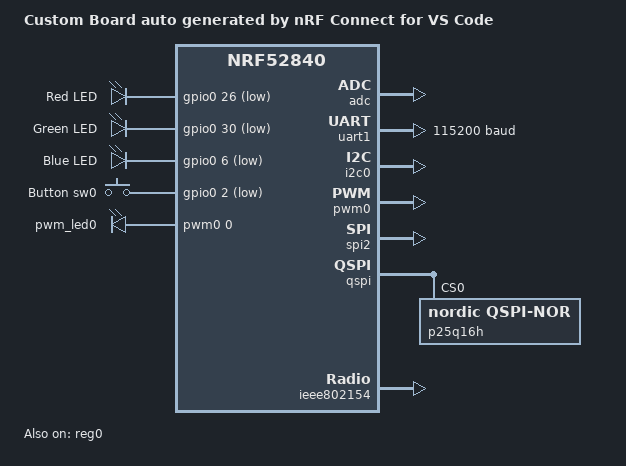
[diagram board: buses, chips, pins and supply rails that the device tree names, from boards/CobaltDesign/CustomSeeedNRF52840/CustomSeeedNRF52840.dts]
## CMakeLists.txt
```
cmake_minimum_required(VERSION 3.20.0)
find_package(Zephyr REQUIRED HINTS $ENV{ZEPHYR_BASE})

macro(app_set_runner_args)
  board_runner_args(dfu-util "--dfuse-modifiers=force:mass-erase")
  board_runner_args(pyocd "--erase")
  board_runner_args(nrfjprog "--erase")
endmacro()

# This find_package command locates the Zephyr package and sets up
find_package(Zephyr REQUIRED HINTS $ENV{ZEPHYR_BASE})
project(XiaoBleMesh)

# NORDIC SDK APP START
target_sources(app PRIVATE
	src/main.c
	src/lb_service_handler.c
	src/model_handler.c)
target_include_directories(app PRIVATE include)
```

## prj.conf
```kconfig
# Basic setting
CONFIG_NCS_SAMPLES_DEFAULTS=y

# Logging configuration
CONFIG_LOG=y
CONFIG_USE_SEGGER_RTT=y
CONFIG_LOG_BACKEND_RTT=y
CONFIG_CONSOLE=n
CONFIG_UART_CONSOLE=n
CONFIG_LOG_BACKEND_UART=n


# Set the default log level to INFO
CONFIG_LOG_DEFAULT_LEVEL=4
# Enable immediate mode
# CONFIG_LOG_MODE_IMMEDIATE=y
# Deferred logging helps improve LPN power consumption
# when friendship is established.
CONFIG_LOG_MODE_DEFERRED=y

CONFIG_MPU_LOG_LEVEL_ERR=y
CONFIG_KERNEL_LOG_LEVEL_ERR=y

CONFIG_HEAP_MEM_POOL_SIZE=1024

# General configuration
CONFIG_NCS_APPLICATION_BOOT_BANNER_STRING="Mesh and Peripheral Coex Testing"
CONFIG_SYSTEM_WORKQUEUE_STACK_SIZE=2048
CONFIG_FLASH=y
CONFIG_FLASH_MAP=y
CONFIG_NVS=y
CONFIG_SETTINGS=y
CONFIG_NVS_LOOKUP_CACHE=y
CONFIG_SETTINGS_NVS_NAME_CACHE=y
CONFIG_HWINFO=y
CONFIG_DK_LIBRARY=y
CONFIG_PM_SINGLE_IMAGE=y
CONFIG_PM_PARTITION_SIZE_SETTINGS_STORAGE=0x8000
CONFIG_SOC_FLASH_NRF_PARTIAL_ERASE=y

# Bluetooth configuration
CONFIG_BT=y
CONFIG_BT_DEVICE_NAME="Mesh_Peripheral_Coex"
CONFIG_BT_L2CAP_TX_BUF_COUNT=8
CONFIG_BT_OBSERVER=y
CONFIG_BT_PERIPHERAL=y
CONFIG_BT_SETTINGS=y

CONFIG_BT_EXT_ADV=y
# 5 sets are used by Bluetooth Mesh, 1 is needed for the sample advs.
CONFIG_BT_EXT_ADV_MAX_ADV_SET=6
CONFIG_BT_MAX_CONN=3
CONFIG_BT_ID_MAX=2

# Disable unused Bluetooth features
CONFIG_BT_CTLR_LE_ENC=n
CONFIG_BT_PHY_UPDATE=n
CONFIG_BT_CTLR_CHAN_SEL_2=n
CONFIG_BT_CTLR_MIN_USED_CHAN=n
CONFIG_BT_CTLR_PRIVACY=n

# Bluetooth Mesh configuration
CONFIG_BT_MESH=y
CONFIG_BT_MESH_RELAY=y
CONFIG_BT_MESH_FRIEND=y
CONFIG_BT_MESH_TX_SEG_MAX=10
CONFIG_BT_MESH_PB_GATT=y
CONFIG_BT_MESH_GATT_PROXY=y
CONFIG_BT_MESH_PROXY_USE_DEVICE_NAME=y
CONFIG_BT_MESH_DK_PROV=y

# *. Enable FOTA over Bluetooth LE
CONFIG_BOOTLOADER_MCUBOOT=y
CONFIG_NCS_SAMPLE_MCUMGR_BT_OTA_DFU=y

# UART configuration
CONFIG_SERIAL=y
CONFIG_UART_ASYNC_API=y

# BOARD CONFIGURATION
CONFIG_GPIO=y
# Bluetooth Mesh models
CONFIG_BT_MESH_ONOFF_SRV=y

# Enable the LBS service
CONFIG_BT_LBS=y
CONFIG_BT_LBS_POLL_BUTTON=y

# NVS setting
CONFIG_FLASH=y
CONFIG_FLASH_PAGE_LAYOUT=y
CONFIG_NVS=y    # Enable NVS
CONFIG_NVS_LOG_LEVEL_DBG=y
CONFIG_REBOOT=y
CONFIG_MPU_ALLOW_FLASH_WRITE=y


# Enable the LBS service
CONFIG_BT_LBS=y
CONFIG_BT_LBS_POLL_BUTTON=y

# Increase the HCI command buffers to 3 for additional Peripheral LE Service
CONFIG_BT_BUF_CMD_TX_COUNT=3

# *. Event
CONFIG_EVENTS=y

# *. Ring buffer
CONFIG_RING_BUFFER=y

# *. Power management
CONFIG_POWEROFF=y

# *. Access to UICR
CONFIG_SOC_FLASH_NRF_UICR=y
```

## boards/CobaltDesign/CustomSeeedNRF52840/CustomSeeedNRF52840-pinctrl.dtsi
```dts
&pinctrl {
	uart1_default: uart1_default {
		group1 {
			psels = <NRF_PSEL(UART_TX, 1, 11)>;
		};
		group2 {
			psels = <NRF_PSEL(UART_RX, 1, 12)>;
			bias-pull-up;
		};
	};

	uart1_sleep: uart1_sleep {
		group1 {
			psels = <NRF_PSEL(UART_TX, 1, 11)>,
				<NRF_PSEL(UART_RX, 1, 12)>;
			low-power-enable;
		};
	};

	i2c1_default: i2c1_default {
		group1 {
			psels = <NRF_PSEL(TWIM_SDA, 0, 7)>,
				<NRF_PSEL(TWIM_SCL, 0, 27)>;
		};
	};

	i2c1_sleep: i2c1_sleep {
		group1 {
			psels = <NRF_PSEL(TWIM_SDA, 0, 7)>,
				<NRF_PSEL(TWIM_SCL, 0, 27)>;
			low-power-enable;
		};
	};

	i2c0_default: i2c0_default {
		group1 {
			psels = <NRF_PSEL(TWIM_SDA, 0, 4)>,
				<NRF_PSEL(TWIM_SCL, 0, 5)>;
		};
	};

	i2c0_sleep: i2c0_sleep {
		group1 {
			psels = <NRF_PSEL(TWIM_SDA, 0, 4)>,
				<NRF_PSEL(TWIM_SCL, 0, 5)>;
			low-power-enable;
		};
	};

	pdm0_default: pdm0_default {
		group1 {
			psels = <NRF_PSEL(PDM_CLK, 1, 00)>,
				<NRF_PSEL(PDM_DIN, 0, 16)>;
		};
	};

	pdm0_sleep: pdm0_sleep {
		group1 {
			psels = <NRF_PSEL(PDM_CLK, 1, 00)>,
				<NRF_PSEL(PDM_DIN, 0, 16)>;
				low-power-enable;
		};
	};

	pwm0_default: pwm0_default {
		group1 {
			psels = <NRF_PSEL(PWM_OUT0, 0, 17)>;
			nordic,invert;
		};
	};

	pwm0_sleep: pwm0_sleep {
		group1 {
			psels = <NRF_PSEL(PWM_OUT0, 0, 17)>;
			low-power-enable;
		};
	};

	spi2_default: spi2_default {
		group1 {
			psels = <NRF_PSEL(SPIM_SCK, 1, 13)>,
				<NRF_PSEL(SPIM_MOSI, 1, 15)>,
				<NRF_PSEL(SPIM_MISO, 1, 14)>;
		};
	};

	spi2_sleep: spi2_sleep {
		group1 {
			psels = <NRF_PSEL(SPIM_SCK, 1, 13)>,
				<NRF_PSEL(SPIM_MOSI, 1, 15)>,
				<NRF_PSEL(SPIM_MISO, 1, 14)>;
			low-power-enable;
		};
	};

	spi3_default: spi3_default {
		group1 {
			psels = <NRF_PSEL(SPIM_SCK, 0, 21)>,
				<NRF_PSEL(SPIM_MOSI, 0, 20)>,
				<NRF_PSEL(SPIM_MISO, 0, 24)>;
		};
	};

	spi3_sleep: spi3_sleep {
		group1 {
			psels = <NRF_PSEL(SPIM_SCK, 0, 21)>,
				<NRF_PSEL(SPIM_MOSI, 0, 20)>,
				<NRF_PSEL(SPIM_MISO, 0, 24)>;
			low-power-enable;
		};
	};

	qspi_default: qspi_default {
		group1 {
			psels = <NRF_PSEL(QSPI_SCK, 0, 21)>,
				<NRF_PSEL(QSPI_IO0, 0, 20)>,
				<NRF_PSEL(QSPI_IO1, 0, 24)>,
				<NRF_PSEL(QSPI_IO2, 0, 22)>,
				<NRF_PSEL(QSPI_IO3, 0, 23)>,
				<NRF_PSEL(QSPI_CSN, 0, 25)>;
		};
	};

	qspi_sleep: qspi_sleep {
		group1 {
			psels = <NRF_PSEL(QSPI_SCK, 0, 21)>,
				<NRF_PSEL(QSPI_IO0, 0, 20)>,
				<NRF_PSEL(QSPI_IO1, 0, 24)>,
				<NRF_PSEL(QSPI_IO2, 0, 22)>,
				<NRF_PSEL(QSPI_IO3, 0, 23)>;
			low-power-enable;
		};
		group2 {
			psels = <NRF_PSEL(QSPI_CSN, 0, 25)>;
			low-power-enable;
			bias-pull-up;
		};
	};
};
```

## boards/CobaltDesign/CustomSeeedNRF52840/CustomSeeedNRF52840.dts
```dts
/dts-v1/;
#include <nordic/nrf52840_qiaa.dtsi>
#include "CustomSeeedNRF52840-pinctrl.dtsi"

/ {
	model = "Custom Board auto generated by nRF Connect for VS Code";
	compatible = "CobaltDesign,CALI-P01-LB-nRF52840";

	chosen {
		zephyr,sram = &sram0;
		zephyr,flash = &flash0;
		zephyr,code-partition = &slot0_partition;
	};

	leds {
			compatible = "gpio-leds";
			led0: led_0 {
				gpios = <&gpio0 26 GPIO_ACTIVE_LOW>;
				label = "Red LED";
			};
			led1: led_1 {
				gpios = <&gpio0 30 GPIO_ACTIVE_LOW>;
				label = "Green LED";
			};
			led2: led_2 {
				gpios = <&gpio0 6 GPIO_ACTIVE_LOW>;
				label = "Blue LED";
			};
	};

	gpio_keys {
		compatible = "gpio-keys";
		sw0: button_0 {
				gpios = <&gpio0 2 GPIO_ACTIVE_LOW>;
				label = "Button sw0";
		};
	};	

	pwmleds {
			compatible = "pwm-leds";
			pwm_led0: pwm_led_0 {
				pwms = <&pwm0 0 PWM_MSEC(20) PWM_POLARITY_INVERTED>;
			};
	};

	/* These aliases are provided for compatibility with samples */
	aliases {
		led0 = &led0;
		led1 = &led1;
		led2 = &led2;
		sw0 = &sw0;
		pwm-led0 = &pwm_led0;
		bootloader-led0 = &led0;
		mcuboot-led0 = &led0;
		watchdog0 = &wdt0;
	};
};

&reg0 {
	status = "okay";
};

&reg1 {
	regulator-initial-mode = <NRF5X_REG_MODE_DCDC>;
};

&adc {
	status = "okay";
};

&uicr {
	gpio-as-nreset;
};

&gpiote {
	status = "okay";
};

&gpio0 {
	status = "okay";
};

&gpio1 {
	status = "okay";
};

&uart1 {
	compatible = "nordic,nrf-uarte";
	status = "okay";
	current-speed = <115200>;
	pinctrl-0 = <&uart1_default>;
	pinctrl-1 = <&uart1_sleep>;
	pinctrl-names = "default", "sleep";
};

&i2c0 {
	compatible = "nordic,nrf-twi";
	/* Cannot be used together with spi1. */
	status = "okay";
	pinctrl-0 = <&i2c0_default>;
	pinctrl-1 = <&i2c0_sleep>;
	pinctrl-names = "default", "sleep";
};

&pwm0 {
	status = "okay";
	pinctrl-0 = <&pwm0_default>;
	pinctrl-1 = <&pwm0_sleep>;
	pinctrl-names = "default", "sleep";
};

&spi2 {
	compatible = "nordic,nrf-spi";
	status = "okay";
	pinctrl-0 = <&spi2_default>;
	pinctrl-1 = <&spi2_sleep>;
	pinctrl-names = "default", "sleep";
};

&qspi {
	status = "okay";
	pinctrl-0 = <&qspi_default>;
	pinctrl-1 = <&qspi_sleep>;
	pinctrl-names = "default", "sleep";
	p25q16h: p25q16h@0 {
		compatible = "nordic,qspi-nor";
		reg = <0>;
		sck-frequency = <104000000>;
		quad-enable-requirements = "S2B1v1";
		jedec-id = [85 60 15];
		sfdp-bfp = [
			e5 20 f1 ff  ff ff ff 00  44 eb 08 6b  08 3b 80 bb
			ee ff ff ff  ff ff 00 ff  ff ff 00 ff  0c 20 0f 52
			10 d8 08 81
		];
		size = <16777216>;
		has-dpd;
		t-enter-dpd = <3000>;
		t-exit-dpd = <8000>;
	};
};

&ieee802154 {
	status = "okay";
};


&flash0 {
	partitions {
		compatible = "fixed-partitions";
		#address-cells = <1>;
		#size-cells = <1>;

		boot_partition: partition@0 {
			label = "mcuboot";
			reg = <0x00000000 DT_SIZE_K(48)>;
		};

		slot0_partition: partition@c000 {
			label = "image-0";
			reg = <0x0000c000 DT_SIZE_K(472)>;
		};

		slot1_partition: partition@82000 {
			label = "image-1";
			reg = <0x00082000 DT_SIZE_K(472)>;
		};

		storage_partition: partition@f8000 {
			label = "storage";
			reg = <0x000f8000 DT_SIZE_K(32)>;
		};
	};
};
```

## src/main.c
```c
/*
 * Copyright (c) 2021 Nordic Semiconductor ASA
 *
 * SPDX-License-Identifier: LicenseRef-Nordic-5-Clause
 */

/** @file
 *  @brief Nordic mesh and peripheral coexistence sample
 */

#include <zephyr/bluetooth/bluetooth.h>
#include <bluetooth/mesh/models.h>
#include <bluetooth/mesh/dk_prov.h>
#include <dk_buttons_and_leds.h>
#include "model_handler.h"
#include "lb_service_handler.h"

#define ALIVE_LED DK_LED1

static void bt_ready(int err)
{
	if (err) {
		printk("Bluetooth init failed (err %d)\n", err);
		return;
	}

	printk("Bluetooth initialized\n");

	err = dk_leds_init();
	if (err) {
		printk("Initializing LEDs failed (err %d)\n", err);
		return;
	}

	err = dk_buttons_init(NULL);
	if (err) {
		printk("Initializing buttons failed (err %d)\n", err);
		return;
	}

	err = bt_mesh_init(bt_mesh_dk_prov_init(), model_handler_init());
	if (err) {
		printk("Initializing mesh failed (err %d)\n", err);
		return;
	}

	if (IS_ENABLED(CONFIG_SETTINGS)) {
		settings_load();
	}

	/* This will be a no-op if settings_load() loaded provisioning info */
	bt_mesh_prov_enable(BT_MESH_PROV_ADV | BT_MESH_PROV_GATT);

	printk("Mesh initialized\n");

	lbs_handler_init();

}

int main(void)
{
	int err;
        bool bLedAlive = false;
	printk("Initializing...\n");

	err = bt_enable(bt_ready);
	if (err) {
		printk("Bluetooth init failed (err %d)\n", err);
	}
        while(1)
        {
                k_msleep(1000);
                bLedAlive = !bLedAlive;
                dk_set_led(ALIVE_LED,bLedAlive);
        }

	return 0;
}
```

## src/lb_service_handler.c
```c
/*
 * Copyright (c) 2021 Nordic Semiconductor ASA
 *
 * SPDX-License-Identifier: LicenseRef-Nordic-5-Clause
 */

#include <zephyr/types.h>
#include <stddef.h>
#include <zephyr/sys/printk.h>
#include <zephyr/sys/byteorder.h>
#include <zephyr/kernel.h>
#include <zephyr/drivers/gpio.h>
#include <soc.h>

#include <zephyr/bluetooth/bluetooth.h>
#include <zephyr/bluetooth/hci.h>
#include <zephyr/bluetooth/conn.h>
#include <zephyr/bluetooth/uuid.h>

#include <bluetooth/services/lbs.h>
#include <dk_buttons_and_leds.h>

#if !DT_NODE_EXISTS(DT_ALIAS(sw0))
#error "Unsupported board: sw0 devicetree alias is not defined"
#endif

#if !DT_NODE_EXISTS(DT_ALIAS(led1))
#error "Unsupported board: led1 devicetree alias is not defined"
#endif

#define LBS_LED DK_LED2
#define LBS_BUTTON DK_BTN1_MSK

static struct bt_data ad[] = {
	BT_DATA_BYTES(BT_DATA_FLAGS, (BT_LE_AD_GENERAL | BT_LE_AD_NO_BREDR)),
	BT_DATA(BT_DATA_NAME_COMPLETE, CONFIG_BT_DEVICE_NAME, (sizeof(CONFIG_BT_DEVICE_NAME) - 1)),
};

static const struct bt_data sd[] = {
	BT_DATA_BYTES(BT_DATA_UUID128_ALL, BT_UUID_LBS_VAL),
};

static struct bt_le_ext_adv *adv;
static uint8_t lbs_conn_id;
static bool ble_button_state;

static void connected(struct bt_conn *conn, uint8_t err)
{
	struct bt_conn_info cinfo;
	int ec;

	ec = bt_conn_get_info(conn, &cinfo);
	if (ec) {
		printk("Unable to get connection info (err %d)\n", ec);
		return;
	}

	if (cinfo.id != lbs_conn_id) {
		return;
	}

	if (err) {
		printk("Connection failed (err %u)\n", err);
		return;
	}

	printk("Connected\n");
}

static void disconnected(struct bt_conn *conn, uint8_t reason)
{
	struct bt_conn_info cinfo;
	int ec;

	ec = bt_conn_get_info(conn, &cinfo);
	if (ec) {
		printk("Unable to get connection info (err %d)\n", ec);
		return;
	}

	if (cinfo.id != lbs_conn_id) {
		return;
	}

	printk("Disconnected (reason %u)\n", reason);
}

BT_CONN_CB_DEFINE(conn_callbacks) = {
	.connected = connected,
	.disconnected = disconnected,
};

static void app_led_cb(bool led_state)
{
	dk_set_led(LBS_LED, led_state);
}

static bool app_button_cb(void)
{
	return ble_button_state;
}

static struct bt_lbs_cb lbs_callbacs = {
	.led_cb = app_led_cb,
	.button_cb = app_button_cb,
};

static void button_changed(uint32_t button_state, uint32_t has_changed)
{
	if (has_changed & LBS_BUTTON) {
		uint32_t user_button_state = button_state & LBS_BUTTON;

		bt_lbs_send_button_state(user_button_state);
		ble_button_state = user_button_state ? true : false;
	}
}

static void lbs_adv_start(void)
{
	int err;
	size_t id_count = 0xFF;
	struct bt_le_adv_param adv_params = *BT_LE_ADV_CONN;
	/* Use different identity from Bluetooth Mesh to avoid conflicts with Mesh Provisioning
	 * Service and Mesh Proxy Service advertisements.
	 */
	(void)bt_id_get(NULL, &id_count);

	if (id_count < CONFIG_BT_ID_MAX) {
		int id = bt_id_create(NULL, NULL);

		if (id < 0) {
			printk("Unable to create a new identity for LBS (err %d)."
			       " Using the default one.\n", id);
			lbs_conn_id = BT_ID_DEFAULT;
		} else {
			lbs_conn_id = id;
		}

		printk("Created a new identity for LBS: %d\n", lbs_conn_id);
	} else {
		lbs_conn_id = BT_ID_DEFAULT + 1;
		printk("Recovered identity for LBS: %d\n", lbs_conn_id);
	}

	adv_params.id = lbs_conn_id;

	err = bt_le_ext_adv_create(&adv_params, NULL, &adv);
	if (err) {
		printk("Creating LBS service adv instance failed (err %d)\n", err);
		return;
	}

	err = bt_le_ext_adv_set_data(adv, ad, ARRAY_SIZE(ad), sd, ARRAY_SIZE(sd));
	if (err) {
		printk("Setting LBS service adv data failed (err %d)\n", err);
		return;
	}

	err = bt_le_ext_adv_start(adv, BT_LE_EXT_ADV_START_DEFAULT);
	if (err) {
		printk("Starting advertising of LBS service failed (err %d)\n", err);
	} else {
		printk("Advertising successfully started\n");
	}
}

static void lbs_init(void)
{
	static struct button_handler button_handler = {
		.cb = button_changed,
	};

	dk_button_handler_add(&button_handler);

	int err = bt_lbs_init(&lbs_callbacs);

	if (err) {
		printk("Failed to init LBS (err:%d)\n", err);
		return;
	}
}

void lbs_handler_init(void)
{
	/** Initiate and add LBS to the device service list. */
	lbs_init();

	char device_name[32];
	bt_addr_le_t addr;
	bt_id_get(&addr,NULL);
	snprintf(device_name, sizeof(device_name), "MeshNode_%02x%02x",addr.a.val[4],addr.a.val[5]);
	ad[1].data = (uint8_t *)device_name;
	ad[1].data_len = strlen(device_name);
	/** Start separate advertiser instance. This will allow two simountanious GATT
	 *  connections to the device, one for Mesh and one for the LBS.
	 */
	lbs_adv_start();
}
```

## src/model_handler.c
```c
/*
 * Copyright (c) 2021 Nordic Semiconductor ASA
 *
 * SPDX-License-Identifier: LicenseRef-Nordic-5-Clause
 */

#include <zephyr/bluetooth/bluetooth.h>
#include <bluetooth/mesh/models.h>
#include <dk_buttons_and_leds.h>
#include "model_handler.h"

#if !DT_NODE_EXISTS(DT_ALIAS(led0))
#error "Unsupported board: led0 devicetree alias is not defined"
#endif

#define MESH_LED DK_LED3

static void led_set(struct bt_mesh_onoff_srv *srv, struct bt_mesh_msg_ctx *ctx,
		    const struct bt_mesh_onoff_set *set, struct bt_mesh_onoff_status *rsp);

static void led_get(struct bt_mesh_onoff_srv *srv, struct bt_mesh_msg_ctx *ctx,
		    struct bt_mesh_onoff_status *rsp);

static const struct bt_mesh_onoff_srv_handlers onoff_handlers = {
	.set = led_set,
	.get = led_get,
};

struct led_ctx {
	struct bt_mesh_onoff_srv srv;
	struct k_work_delayable work;
	uint32_t remaining;
	bool value;
};

static struct led_ctx led_ctx = {
	.srv = BT_MESH_ONOFF_SRV_INIT(&onoff_handlers),
};

static void led_transition_start(void)
{
	/* As long as the transition is in progress, the onoff
	 * state is "on":
	 */
	dk_set_led(MESH_LED, true);
	k_work_reschedule(&led_ctx.work, K_MSEC(led_ctx.remaining));
	led_ctx.remaining = 0;
}

static void led_status(struct bt_mesh_onoff_status *status)
{
	status->remaining_time =
		k_ticks_to_ms_ceil32(k_work_delayable_remaining_get(&led_ctx.work)) +
		led_ctx.remaining;
	status->target_on_off = led_ctx.value;
	/* As long as the transition is in progress, the onoff state is "on": */
	status->present_on_off = led_ctx.value || status->remaining_time;
}

static void led_set(struct bt_mesh_onoff_srv *srv, struct bt_mesh_msg_ctx *ctx,
		    const struct bt_mesh_onoff_set *set, struct bt_mesh_onoff_status *rsp)
{
	if (set->on_off == led_ctx.value) {
		goto respond;
	}

	led_ctx.value = set->on_off;
	if (!bt_mesh_model_transition_time(set->transition)) {
		led_ctx.remaining = 0;
		dk_set_led(MESH_LED, set->on_off);
		goto respond;
	}

	led_ctx.remaining = set->transition->time;

	if (set->transition->delay) {
		k_work_reschedule(&led_ctx.work, K_MSEC(set->transition->delay));
	} else {
		led_transition_start();
	}

respond:
	if (rsp) {
		led_status(rsp);
	}
}

static void led_get(struct bt_mesh_onoff_srv *srv, struct bt_mesh_msg_ctx *ctx,
		    struct bt_mesh_onoff_status *rsp)
{
	led_status(rsp);
}

static void led_work(struct k_work *work)
{
	if (led_ctx.remaining) {
		led_transition_start();
	} else {
		dk_set_led(MESH_LED, led_ctx.value);

		/* Publish the new value at the end of the transition */
		struct bt_mesh_onoff_status status;

		led_status(&status);
		bt_mesh_onoff_srv_pub(&led_ctx.srv, NULL, &status);
	}
}

/* Set up a repeating delayed work to blink the DK's LEDs when attention is
 * requested.
 */
static struct k_work_delayable attention_blink_work;
static bool attention;

static void attention_blink(struct k_work *work)
{
	static int idx;

	if (attention) {
		dk_set_leds(BIT((idx++) % 2));
		k_work_reschedule(&attention_blink_work, K_MSEC(30));
	} else {
		dk_set_leds(DK_NO_LEDS_MSK);
	}
}

static void attention_on(const struct bt_mesh_model *mod)
{
	attention = true;
	k_work_reschedule(&attention_blink_work, K_NO_WAIT);
}

static void attention_off(const struct bt_mesh_model *mod)
{
	/* Will stop rescheduling blink timer */
	attention = false;
}

static const struct bt_mesh_health_srv_cb health_srv_cb = {
	.attn_on = attention_on,
	.attn_off = attention_off,
};

static struct bt_mesh_health_srv health_srv = {
	.cb = &health_srv_cb,
};

BT_MESH_HEALTH_PUB_DEFINE(health_pub, 0);

static struct bt_mesh_elem elements[] = {
	BT_MESH_ELEM(1,
		     BT_MESH_MODEL_LIST(BT_MESH_MODEL_CFG_SRV,
					BT_MESH_MODEL_HEALTH_SRV(&health_srv, &health_pub),
					BT_MESH_MODEL_ONOFF_SRV(&led_ctx.srv)),
		     BT_MESH_MODEL_NONE),
};

static const struct bt_mesh_comp comp = {
	.cid = CONFIG_BT_COMPANY_ID,
	.elem = elements,
	.elem_count = ARRAY_SIZE(elements),
};

const struct bt_mesh_comp *model_handler_init(void)
{
	k_work_init_delayable(&attention_blink_work, attention_blink);
	k_work_init_delayable(&led_ctx.work, led_work);

	return &comp;
}
```
